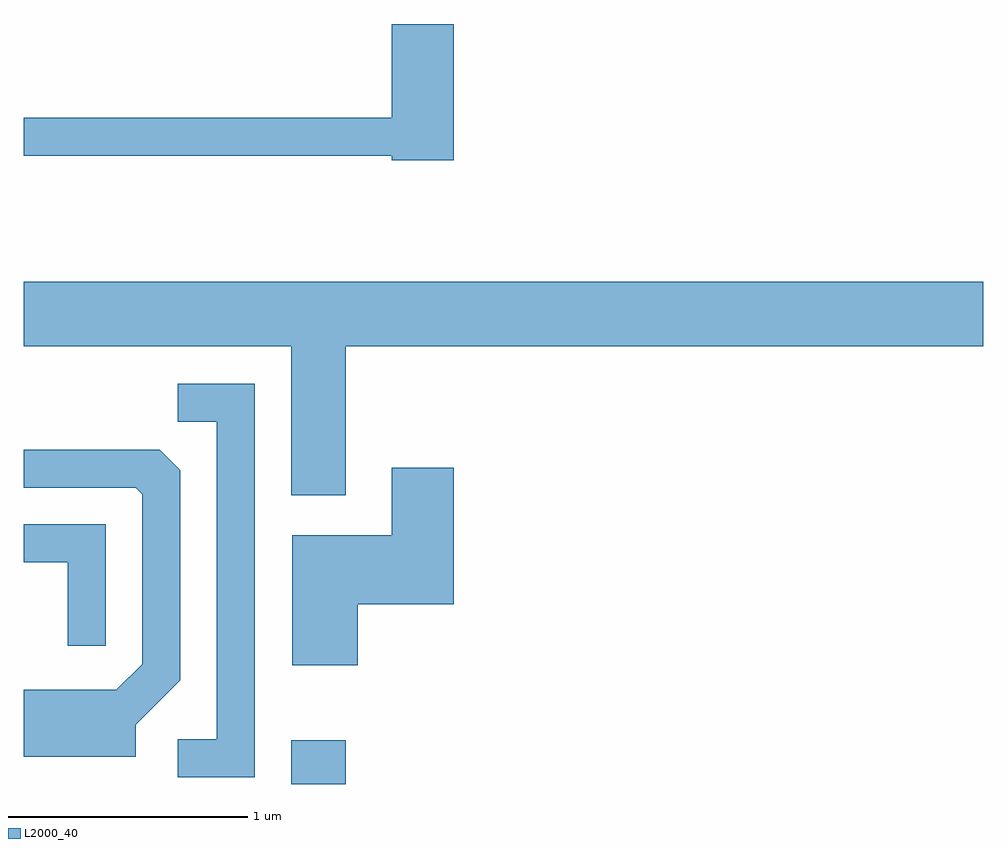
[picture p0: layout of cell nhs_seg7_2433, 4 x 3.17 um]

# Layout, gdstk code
import gdstk
lib = gdstk.Library(unit=1e-6, precision=1e-09)
def R(c, l, rs):  # rectangles x0, y0, x1, y1
    for r in rs: c.add(gdstk.rectangle(r[:2], r[2:], *l))
def P(c, l, *ps):  # polygons
    for p in ps: c.add(gdstk.Polygon(p, *l))
L2000_40 = (2000, 40)

nhs_seg7_2433 = lib.new_cell('nhs_seg7_2433')
R(nhs_seg7_2433, L2000_40, [(260.726,1730.252,260.954,1730.434)])
P(nhs_seg7_2433, L2000_40, [(261.404,1733.419),(261.146,1733.419),(261.146,1733.029),(259.611,1733.029),(259.611,1732.871),(261.146,1732.871),(261.146,1732.851),(261.404,1732.851)],
  [(260.954,1732.076),(263.611,1732.076),(263.611,1732.344),(259.611,1732.344),(259.611,1732.076),(260.726,1732.076),(260.726,1731.456),(260.954,1731.456)],
  [(260.574,1731.919),(260.253,1731.919),(260.253,1731.761),(260.416,1731.761),(260.416,1730.439),(260.253,1730.439),(260.253,1730.281),(260.574,1730.281)],
  [(260.079,1730.499),(260.264,1730.684),(260.264,1731.559),(260.179,1731.644),(259.611,1731.644),(259.611,1731.486),(260.079,1731.486),(260.106,1731.459),(260.106,1730.752),(259.998,1730.644),(259.611,1730.644),(259.611,1730.366),(260.079,1730.366)],
  [(261.004,1731.001),(261.404,1731.001),(261.404,1731.569),(261.146,1731.569),(261.146,1731.289),(260.731,1731.289),(260.731,1730.746),(261.004,1730.746)],
  [(259.954,1731.334),(259.611,1731.334),(259.611,1731.176),(259.796,1731.176),(259.796,1730.828),(259.954,1730.828)])

lib.write_gds('nhs_seg7_2433.gds')
